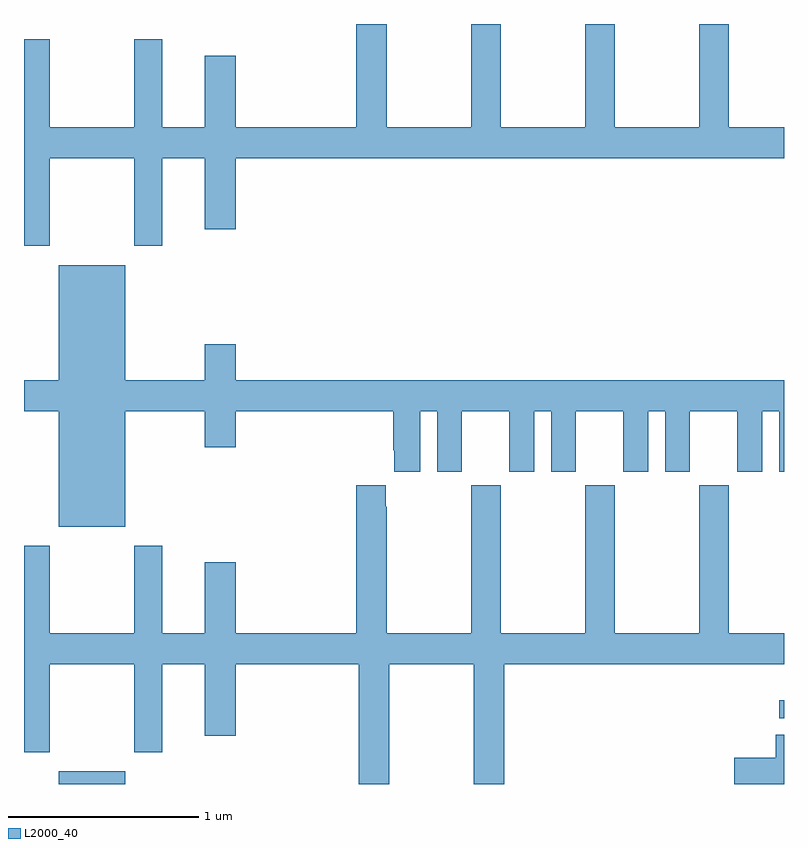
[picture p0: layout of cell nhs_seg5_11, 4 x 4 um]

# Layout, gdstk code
import gdstk
lib = gdstk.Library(unit=1e-6, precision=1e-09)
def R(c, l, rs):  # rectangles x0, y0, x1, y1
    for r in rs: c.add(gdstk.rectangle(r[:2], r[2:], *l))
def P(c, l, *ps):  # polygons
    for p in ps: c.add(gdstk.Polygon(p, *l))
L2000_40 = (2000, 40)

nhs_seg5_11 = lib.new_cell('nhs_seg5_11')
R(nhs_seg5_11, L2000_40, [(111.182,854.799,111.532,854.866), (114.975,855.144,115,855.24)])
P(nhs_seg5_11, L2000_40, [(111.135,858.092),(111.58,858.092),(111.58,857.631),(111.727,857.631),(111.727,858.092),(111.95,858.092),(111.95,857.718),(112.114,857.718),(112.114,858.092),(115,858.092),(115,858.256),(114.708,858.256),(114.708,858.799),(114.553,858.799),(114.553,858.256),(114.108,858.256),(114.108,858.799),(113.953,858.799),(113.953,858.256),(113.508,858.256),(113.508,858.799),(113.353,858.799),(113.353,858.256),(112.908,858.256),(112.908,858.799),(112.748,858.799),(112.748,858.256),(112.114,858.256),(112.114,858.631),(111.95,858.631),(111.95,858.256),(111.727,858.256),(111.727,858.718),(111.58,858.718),(111.58,858.256),(111.135,858.256),(111.135,858.718),(111,858.718),(111,857.631),(111.135,857.631)],
  [(111.532,856.76),(111.95,856.76),(111.95,856.572),(112.114,856.572),(112.114,856.76),(112.943,856.76),(112.943,856.555),(112.949,856.555),(112.949,856.443),(113.086,856.443),(113.086,856.76),(113.174,856.76),(113.174,856.443),(113.305,856.443),(113.305,856.76),(113.555,856.76),(113.555,856.443),(113.686,856.443),(113.686,856.76),(113.774,856.76),(113.774,856.443),(113.905,856.443),(113.905,856.76),(114.155,856.76),(114.155,856.443),(114.286,856.443),(114.286,856.76),(114.374,856.76),(114.374,856.443),(114.505,856.443),(114.505,856.76),(114.755,856.76),(114.755,856.443),(114.886,856.443),(114.886,856.76),(114.974,856.76),(114.974,856.443),(115,856.443),(115,856.924),(112.114,856.924),(112.114,857.113),(111.95,857.113),(111.95,856.924),(111.532,856.924),(111.532,857.53),(111.182,857.53),(111.182,856.924),(111,856.924),(111,856.76),(111.182,856.76),(111.182,856.154),(111.532,856.154)],
  [(112.923,855.428),(113.368,855.428),(113.368,854.799),(113.528,854.799),(113.528,855.428),(115,855.428),(115,855.592),(114.708,855.592),(114.708,856.372),(114.553,856.372),(114.553,855.592),(114.108,855.592),(114.108,856.372),(113.953,856.372),(113.953,855.592),(113.508,855.592),(113.508,856.372),(113.353,856.372),(113.353,855.592),(112.908,855.592),(112.908,856.259),(112.903,856.259),(112.903,856.372),(112.748,856.372),(112.748,855.592),(112.114,855.592),(112.114,855.967),(111.95,855.967),(111.95,855.592),(111.727,855.592),(111.727,856.054),(111.58,856.054),(111.58,855.592),(111.135,855.592),(111.135,856.054),(111,856.054),(111,854.967),(111.135,854.967),(111.135,855.428),(111.58,855.428),(111.58,854.967),(111.727,854.967),(111.727,855.428),(111.95,855.428),(111.95,855.054),(112.114,855.054),(112.114,855.428),(112.763,855.428),(112.763,854.799),(112.923,854.799)],
  [(115,855.059),(114.956,855.059),(114.956,854.936),(114.738,854.936),(114.738,854.799),(115,854.799)])

lib.write_gds('nhs_seg5_11.gds')
